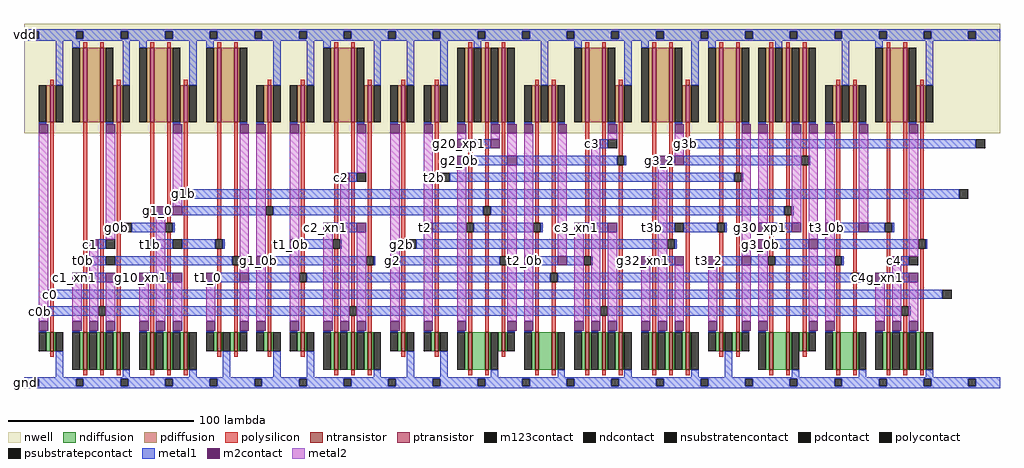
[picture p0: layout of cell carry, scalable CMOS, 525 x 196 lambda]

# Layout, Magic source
magic
tech scmos
<< nwell >>
rect 0 137 525 196
<< ntransistor >>
rect 14 20 16 30
rect 32 10 34 30
rect 41 10 43 30
rect 50 10 52 30
rect 68 10 70 30
rect 77 10 79 30
rect 86 10 88 30
rect 104 20 106 30
rect 113 20 115 30
rect 131 20 133 30
rect 149 20 151 30
rect 167 10 169 30
rect 176 10 178 30
rect 185 10 187 30
rect 203 20 205 30
rect 221 20 223 30
rect 239 10 241 30
rect 248 10 250 30
rect 257 20 259 30
rect 275 10 277 30
rect 284 10 286 30
rect 302 10 304 30
rect 311 10 313 30
rect 320 10 322 30
rect 338 10 340 30
rect 347 10 349 30
rect 356 10 358 30
rect 374 20 376 30
rect 383 20 385 30
rect 401 10 403 30
rect 410 10 412 30
rect 419 20 421 30
rect 437 10 439 30
rect 446 10 448 30
rect 464 10 466 30
rect 473 10 475 30
rect 482 10 484 30
<< ptransistor >>
rect 14 143 16 163
rect 32 143 34 183
rect 41 143 43 183
rect 50 143 52 163
rect 68 143 70 183
rect 77 143 79 183
rect 86 143 88 163
rect 104 143 106 183
rect 113 143 115 183
rect 131 143 133 163
rect 149 143 151 163
rect 167 143 169 183
rect 176 143 178 183
rect 185 143 187 163
rect 203 143 205 163
rect 221 143 223 163
rect 239 143 241 183
rect 248 143 250 183
rect 257 143 259 183
rect 275 143 277 163
rect 284 143 286 163
rect 302 143 304 183
rect 311 143 313 183
rect 320 143 322 163
rect 338 143 340 183
rect 347 143 349 183
rect 356 143 358 163
rect 374 143 376 183
rect 383 143 385 183
rect 401 143 403 183
rect 410 143 412 183
rect 419 143 421 183
rect 437 143 439 163
rect 446 143 448 163
rect 464 143 466 183
rect 473 143 475 183
rect 482 143 484 163
<< ndiffusion >>
rect 12 20 14 30
rect 16 20 17 30
rect 30 10 32 30
rect 34 10 35 30
rect 39 10 41 30
rect 43 10 44 30
rect 48 10 50 30
rect 52 10 53 30
rect 66 10 68 30
rect 70 10 71 30
rect 75 10 77 30
rect 79 10 80 30
rect 84 10 86 30
rect 88 10 89 30
rect 102 20 104 30
rect 106 20 107 30
rect 111 20 113 30
rect 115 20 116 30
rect 129 20 131 30
rect 133 20 134 30
rect 147 20 149 30
rect 151 20 152 30
rect 165 10 167 30
rect 169 10 170 30
rect 174 10 176 30
rect 178 10 179 30
rect 183 10 185 30
rect 187 10 188 30
rect 201 20 203 30
rect 205 20 206 30
rect 219 20 221 30
rect 223 20 224 30
rect 237 10 239 30
rect 241 10 248 30
rect 250 10 251 30
rect 255 20 257 30
rect 259 20 260 30
rect 273 10 275 30
rect 277 10 284 30
rect 286 10 287 30
rect 300 10 302 30
rect 304 10 305 30
rect 309 10 311 30
rect 313 10 314 30
rect 318 10 320 30
rect 322 10 323 30
rect 336 10 338 30
rect 340 10 341 30
rect 345 10 347 30
rect 349 10 350 30
rect 354 10 356 30
rect 358 10 359 30
rect 372 20 374 30
rect 376 20 377 30
rect 381 20 383 30
rect 385 20 386 30
rect 399 10 401 30
rect 403 10 410 30
rect 412 10 413 30
rect 417 20 419 30
rect 421 20 422 30
rect 435 10 437 30
rect 439 10 446 30
rect 448 10 449 30
rect 462 10 464 30
rect 466 10 467 30
rect 471 10 473 30
rect 475 10 476 30
rect 480 10 482 30
rect 484 10 485 30
<< pdiffusion >>
rect 12 143 14 163
rect 16 143 17 163
rect 30 143 32 183
rect 34 143 41 183
rect 43 143 44 183
rect 48 143 50 163
rect 52 143 53 163
rect 66 143 68 183
rect 70 143 77 183
rect 79 143 80 183
rect 84 143 86 163
rect 88 143 89 163
rect 102 143 104 183
rect 106 143 113 183
rect 115 143 116 183
rect 129 143 131 163
rect 133 143 134 163
rect 147 143 149 163
rect 151 143 152 163
rect 165 143 167 183
rect 169 143 176 183
rect 178 143 179 183
rect 183 143 185 163
rect 187 143 188 163
rect 201 143 203 163
rect 205 143 206 163
rect 219 143 221 163
rect 223 143 224 163
rect 237 143 239 183
rect 241 143 242 183
rect 246 143 248 183
rect 250 143 251 183
rect 255 143 257 183
rect 259 143 260 183
rect 273 143 275 163
rect 277 143 278 163
rect 282 143 284 163
rect 286 143 287 163
rect 300 143 302 183
rect 304 143 311 183
rect 313 143 314 183
rect 318 143 320 163
rect 322 143 323 163
rect 336 143 338 183
rect 340 143 347 183
rect 349 143 350 183
rect 354 143 356 163
rect 358 143 359 163
rect 372 143 374 183
rect 376 143 383 183
rect 385 143 386 183
rect 399 143 401 183
rect 403 143 404 183
rect 408 143 410 183
rect 412 143 413 183
rect 417 143 419 183
rect 421 143 422 183
rect 435 143 437 163
rect 439 143 440 163
rect 444 143 446 163
rect 448 143 449 163
rect 462 143 464 183
rect 466 143 473 183
rect 475 143 476 183
rect 480 143 482 163
rect 484 143 485 163
<< ndcontact >>
rect 8 20 12 30
rect 17 20 21 30
rect 26 10 30 30
rect 35 10 39 30
rect 44 10 48 30
rect 53 10 57 30
rect 62 10 66 30
rect 71 10 75 30
rect 80 10 84 30
rect 89 10 93 30
rect 98 20 102 30
rect 107 20 111 30
rect 116 20 120 30
rect 125 20 129 30
rect 134 20 138 30
rect 143 20 147 30
rect 152 20 156 30
rect 161 10 165 30
rect 170 10 174 30
rect 179 10 183 30
rect 188 10 192 30
rect 197 20 201 30
rect 206 20 210 30
rect 215 20 219 30
rect 224 20 228 30
rect 233 10 237 30
rect 251 10 255 30
rect 260 20 264 30
rect 269 10 273 30
rect 287 10 291 30
rect 296 10 300 30
rect 305 10 309 30
rect 314 10 318 30
rect 323 10 327 30
rect 332 10 336 30
rect 341 10 345 30
rect 350 10 354 30
rect 359 10 363 30
rect 368 20 372 30
rect 377 20 381 30
rect 386 20 390 30
rect 395 10 399 30
rect 413 10 417 30
rect 422 20 426 30
rect 431 10 435 30
rect 449 10 453 30
rect 458 10 462 30
rect 467 10 471 30
rect 476 10 480 30
rect 485 10 489 30
<< pdcontact >>
rect 8 143 12 163
rect 17 143 21 163
rect 26 143 30 183
rect 44 143 48 183
rect 53 143 57 163
rect 62 143 66 183
rect 80 143 84 183
rect 89 143 93 163
rect 98 143 102 183
rect 116 143 120 183
rect 125 143 129 163
rect 134 143 138 163
rect 143 143 147 163
rect 152 143 156 163
rect 161 143 165 183
rect 179 143 183 183
rect 188 143 192 163
rect 197 143 201 163
rect 206 143 210 163
rect 215 143 219 163
rect 224 143 228 163
rect 233 143 237 183
rect 242 143 246 183
rect 251 143 255 183
rect 260 143 264 183
rect 269 143 273 163
rect 278 143 282 163
rect 287 143 291 163
rect 296 143 300 183
rect 314 143 318 183
rect 323 143 327 163
rect 332 143 336 183
rect 350 143 354 183
rect 359 143 363 163
rect 368 143 372 183
rect 386 143 390 183
rect 395 143 399 183
rect 404 143 408 183
rect 413 143 417 183
rect 422 143 426 183
rect 431 143 435 163
rect 440 143 444 163
rect 449 143 453 163
rect 458 143 462 183
rect 476 143 480 183
rect 485 143 489 163
<< psubstratepcontact >>
rect 4 1 8 5
rect 28 1 32 5
rect 52 1 56 5
rect 76 1 80 5
rect 100 1 104 5
rect 124 1 128 5
rect 148 1 152 5
rect 172 1 176 5
rect 196 1 200 5
rect 220 1 224 5
rect 244 1 248 5
rect 268 1 272 5
rect 292 1 296 5
rect 316 1 320 5
rect 340 1 344 5
rect 364 1 368 5
rect 388 1 392 5
rect 412 1 416 5
rect 436 1 440 5
rect 460 1 464 5
rect 484 1 488 5
rect 508 1 512 5
<< nsubstratencontact >>
rect 4 188 8 192
rect 28 188 32 192
rect 52 188 56 192
rect 76 188 80 192
rect 100 188 104 192
rect 124 188 128 192
rect 148 188 152 192
rect 172 188 176 192
rect 196 188 200 192
rect 220 188 224 192
rect 244 188 248 192
rect 268 188 272 192
rect 292 188 296 192
rect 316 188 320 192
rect 340 188 344 192
rect 364 188 368 192
rect 388 188 392 192
rect 412 188 416 192
rect 436 188 440 192
rect 460 188 464 192
rect 484 188 488 192
rect 508 188 512 192
<< polysilicon >>
rect 32 183 34 186
rect 41 183 43 186
rect 68 183 70 186
rect 77 183 79 186
rect 104 183 106 186
rect 113 183 115 186
rect 167 183 169 186
rect 176 183 178 186
rect 239 183 241 186
rect 248 183 250 186
rect 257 183 259 186
rect 302 183 304 186
rect 311 183 313 186
rect 338 183 340 186
rect 347 183 349 186
rect 374 183 376 186
rect 383 183 385 186
rect 401 183 403 186
rect 410 183 412 186
rect 419 183 421 186
rect 464 183 466 186
rect 473 183 475 186
rect 14 163 16 166
rect 50 163 52 166
rect 86 163 88 166
rect 131 163 133 166
rect 149 163 151 166
rect 185 163 187 166
rect 203 163 205 166
rect 221 163 223 166
rect 275 163 277 166
rect 284 163 286 166
rect 320 163 322 166
rect 356 163 358 166
rect 437 163 439 166
rect 446 163 448 166
rect 482 163 484 166
rect 14 53 16 143
rect 32 71 34 143
rect 14 30 16 48
rect 32 30 34 66
rect 41 44 43 143
rect 50 89 52 143
rect 41 30 43 39
rect 50 30 52 84
rect 68 80 70 143
rect 77 89 79 143
rect 86 107 88 143
rect 68 30 70 75
rect 77 30 79 84
rect 86 30 88 102
rect 104 80 106 143
rect 104 30 106 75
rect 113 71 115 143
rect 131 98 133 143
rect 113 30 115 66
rect 131 30 133 93
rect 149 62 151 143
rect 167 80 169 143
rect 149 30 151 57
rect 167 30 169 75
rect 176 44 178 143
rect 185 71 187 143
rect 203 80 205 143
rect 221 116 223 143
rect 176 30 178 39
rect 185 30 187 66
rect 203 30 205 75
rect 221 30 223 111
rect 239 89 241 143
rect 248 98 250 143
rect 239 30 241 84
rect 248 30 250 93
rect 257 71 259 143
rect 275 89 277 143
rect 257 30 259 66
rect 275 30 277 84
rect 284 62 286 143
rect 302 71 304 143
rect 284 30 286 57
rect 302 30 304 66
rect 311 44 313 143
rect 320 125 322 143
rect 311 30 313 39
rect 320 30 322 120
rect 338 89 340 143
rect 338 30 340 84
rect 347 80 349 143
rect 356 134 358 143
rect 347 30 349 75
rect 356 30 358 129
rect 374 89 376 143
rect 383 116 385 143
rect 374 30 376 84
rect 383 30 385 111
rect 401 71 403 143
rect 410 98 412 143
rect 419 125 421 143
rect 401 30 403 66
rect 410 30 412 93
rect 419 30 421 120
rect 437 71 439 143
rect 437 30 439 66
rect 446 62 448 143
rect 464 89 466 143
rect 446 30 448 57
rect 464 30 466 84
rect 473 44 475 143
rect 482 80 484 143
rect 473 30 475 39
rect 482 30 484 75
rect 14 17 16 20
rect 104 17 106 20
rect 113 17 115 20
rect 131 17 133 20
rect 149 17 151 20
rect 203 17 205 20
rect 221 17 223 20
rect 257 17 259 20
rect 374 17 376 20
rect 383 17 385 20
rect 419 17 421 20
rect 32 7 34 10
rect 41 7 43 10
rect 50 7 52 10
rect 68 7 70 10
rect 77 7 79 10
rect 86 7 88 10
rect 167 7 169 10
rect 176 7 178 10
rect 185 7 187 10
rect 239 7 241 10
rect 248 7 250 10
rect 275 7 277 10
rect 284 7 286 10
rect 302 7 304 10
rect 311 7 313 10
rect 320 7 322 10
rect 338 7 340 10
rect 347 7 349 10
rect 356 7 358 10
rect 401 7 403 10
rect 410 7 412 10
rect 437 7 439 10
rect 446 7 448 10
rect 464 7 466 10
rect 473 7 475 10
rect 482 7 484 10
<< polycontact >>
rect 31 66 35 71
rect 13 48 17 53
rect 49 84 53 89
rect 40 39 44 44
rect 85 102 89 107
rect 76 84 80 89
rect 67 75 71 80
rect 103 75 107 80
rect 130 93 134 98
rect 112 66 116 71
rect 166 75 170 80
rect 148 57 152 62
rect 220 111 224 116
rect 202 75 206 80
rect 184 66 188 71
rect 175 39 179 44
rect 247 93 251 98
rect 238 84 242 89
rect 274 84 278 89
rect 256 66 260 71
rect 301 66 305 71
rect 283 57 287 62
rect 319 120 323 125
rect 310 39 314 44
rect 337 84 341 89
rect 355 129 359 134
rect 346 75 350 80
rect 382 111 386 116
rect 373 84 377 89
rect 418 120 422 125
rect 409 93 413 98
rect 400 66 404 71
rect 436 66 440 71
rect 463 84 467 89
rect 445 57 449 62
rect 481 75 485 80
rect 472 39 476 44
<< metal1 >>
rect 0 192 525 193
rect 0 188 4 192
rect 8 188 28 192
rect 32 188 52 192
rect 56 188 76 192
rect 80 188 100 192
rect 104 188 124 192
rect 128 188 148 192
rect 152 188 172 192
rect 176 188 196 192
rect 200 188 220 192
rect 224 188 244 192
rect 248 188 268 192
rect 272 188 292 192
rect 296 188 316 192
rect 320 188 340 192
rect 344 188 364 192
rect 368 188 388 192
rect 392 188 412 192
rect 416 188 436 192
rect 440 188 460 192
rect 464 188 484 192
rect 488 188 508 192
rect 512 188 525 192
rect 0 187 525 188
rect 17 163 21 187
rect 26 183 30 187
rect 53 163 57 187
rect 62 183 66 187
rect 89 163 93 187
rect 98 183 102 187
rect 134 163 138 187
rect 152 163 156 187
rect 8 142 12 143
rect 44 142 48 143
rect 80 142 84 143
rect 116 142 120 143
rect 161 183 165 187
rect 188 163 192 187
rect 206 163 210 187
rect 224 163 228 187
rect 242 183 246 187
rect 125 142 129 143
rect 143 142 147 143
rect 179 142 183 143
rect 197 142 201 143
rect 215 142 219 143
rect 233 142 237 143
rect 251 142 255 143
rect 278 163 282 187
rect 296 183 300 187
rect 260 142 264 143
rect 323 163 327 187
rect 332 183 336 187
rect 359 163 363 187
rect 368 183 372 187
rect 404 183 408 187
rect 269 142 273 143
rect 287 142 291 143
rect 314 142 318 143
rect 350 142 354 143
rect 386 142 390 143
rect 395 142 399 143
rect 413 142 417 143
rect 440 163 444 187
rect 458 183 462 187
rect 422 142 426 143
rect 485 163 489 187
rect 431 142 435 143
rect 449 142 453 143
rect 476 142 480 143
rect 238 129 251 134
rect 310 129 314 134
rect 359 129 512 134
rect 238 120 260 125
rect 265 120 319 125
rect 323 120 324 125
rect 346 120 350 125
rect 355 120 418 125
rect 422 120 423 125
rect 175 111 179 116
rect 229 111 382 116
rect 386 111 387 116
rect 89 102 503 107
rect 76 93 80 98
rect 85 93 130 98
rect 134 93 247 98
rect 251 93 409 98
rect 413 93 414 98
rect 58 84 76 89
rect 80 84 81 89
rect 166 84 179 89
rect 220 84 238 89
rect 242 84 274 89
rect 278 84 279 89
rect 301 84 314 89
rect 341 84 350 89
rect 355 84 373 89
rect 377 84 378 89
rect 400 84 413 89
rect 436 84 449 89
rect 454 84 463 89
rect 467 84 468 89
rect 40 75 44 80
rect 71 75 80 80
rect 85 75 103 80
rect 107 75 108 80
rect 148 75 166 80
rect 170 75 171 80
rect 211 75 346 80
rect 350 75 351 80
rect 400 75 422 80
rect 427 75 481 80
rect 485 75 486 80
rect 35 66 44 71
rect 49 66 112 71
rect 116 66 117 71
rect 130 66 184 71
rect 188 66 189 71
rect 202 66 256 71
rect 260 66 261 71
rect 274 66 287 71
rect 292 66 301 71
rect 305 66 306 71
rect 337 66 350 71
rect 373 66 386 71
rect 391 66 400 71
rect 404 66 436 71
rect 440 66 441 71
rect 472 66 476 71
rect 31 57 44 62
rect 67 57 80 62
rect 103 57 116 62
rect 121 57 148 62
rect 152 57 283 62
rect 287 57 445 62
rect 449 57 450 62
rect 463 57 476 62
rect 17 48 494 53
rect 13 39 40 44
rect 44 39 175 44
rect 179 39 310 44
rect 314 39 472 44
rect 476 39 477 44
rect 8 30 12 31
rect 26 30 30 31
rect 17 6 21 20
rect 35 30 39 31
rect 44 30 48 31
rect 62 30 66 31
rect 71 30 75 31
rect 80 30 84 31
rect 98 30 102 31
rect 116 30 120 31
rect 125 30 129 31
rect 143 30 147 31
rect 161 30 165 31
rect 53 6 57 10
rect 89 6 93 10
rect 107 6 111 20
rect 134 6 138 20
rect 152 6 156 20
rect 170 30 174 31
rect 179 30 183 31
rect 197 30 201 31
rect 215 30 219 31
rect 233 30 237 31
rect 260 30 264 31
rect 188 6 192 10
rect 206 6 210 20
rect 224 6 228 20
rect 269 30 273 31
rect 296 30 300 31
rect 305 30 309 31
rect 314 30 318 31
rect 332 30 336 31
rect 341 30 345 31
rect 350 30 354 31
rect 368 30 372 31
rect 386 30 390 31
rect 395 30 399 31
rect 422 30 426 31
rect 251 6 255 10
rect 287 6 291 10
rect 323 6 327 10
rect 359 6 363 10
rect 377 6 381 20
rect 431 30 435 31
rect 458 30 462 31
rect 467 30 471 31
rect 476 30 480 31
rect 413 6 417 10
rect 449 6 453 10
rect 485 6 489 10
rect 0 5 525 6
rect 0 1 4 5
rect 8 1 28 5
rect 32 1 52 5
rect 56 1 76 5
rect 80 1 100 5
rect 104 1 124 5
rect 128 1 148 5
rect 152 1 172 5
rect 176 1 196 5
rect 200 1 220 5
rect 224 1 244 5
rect 248 1 268 5
rect 272 1 292 5
rect 296 1 316 5
rect 320 1 340 5
rect 344 1 364 5
rect 368 1 388 5
rect 392 1 412 5
rect 416 1 436 5
rect 440 1 460 5
rect 464 1 484 5
rect 488 1 508 5
rect 512 1 525 5
rect 0 0 525 1
<< m2contact >>
rect 8 137 13 142
rect 44 137 49 142
rect 80 137 85 142
rect 116 137 121 142
rect 125 137 130 142
rect 143 137 148 142
rect 179 137 184 142
rect 197 137 202 142
rect 215 137 220 142
rect 233 137 238 142
rect 251 137 256 142
rect 260 137 265 142
rect 269 137 274 142
rect 287 137 292 142
rect 314 137 319 142
rect 350 137 355 142
rect 386 137 391 142
rect 395 137 400 142
rect 413 137 418 142
rect 422 137 427 142
rect 431 137 436 142
rect 449 137 454 142
rect 476 137 481 142
rect 233 129 238 134
rect 251 129 256 134
rect 305 129 310 134
rect 233 120 238 125
rect 260 120 265 125
rect 341 120 346 125
rect 350 120 355 125
rect 170 111 175 116
rect 71 93 76 98
rect 80 93 85 98
rect 161 84 166 89
rect 179 84 184 89
rect 215 84 220 89
rect 296 84 301 89
rect 314 84 319 89
rect 395 84 400 89
rect 413 84 418 89
rect 431 84 436 89
rect 449 84 454 89
rect 35 75 40 80
rect 143 75 148 80
rect 395 75 400 80
rect 422 75 427 80
rect 125 66 130 71
rect 197 66 202 71
rect 269 66 274 71
rect 287 66 292 71
rect 332 66 337 71
rect 350 66 355 71
rect 368 66 373 71
rect 386 66 391 71
rect 467 66 472 71
rect 26 57 31 62
rect 44 57 49 62
rect 62 57 67 62
rect 80 57 85 62
rect 98 57 103 62
rect 116 57 121 62
rect 458 57 463 62
rect 476 57 481 62
rect 8 39 13 44
rect 8 31 13 36
rect 26 31 31 36
rect 35 31 40 36
rect 44 31 49 36
rect 62 31 67 36
rect 71 31 76 36
rect 80 31 85 36
rect 98 31 103 36
rect 116 31 121 36
rect 125 31 130 36
rect 143 31 148 36
rect 161 31 166 36
rect 170 31 175 36
rect 179 31 184 36
rect 197 31 202 36
rect 215 31 220 36
rect 233 31 238 36
rect 260 31 265 36
rect 269 31 274 36
rect 296 31 301 36
rect 305 31 310 36
rect 314 31 319 36
rect 332 31 337 36
rect 341 31 346 36
rect 350 31 355 36
rect 368 31 373 36
rect 386 31 391 36
rect 395 31 400 36
rect 422 31 427 36
rect 431 31 436 36
rect 458 31 463 36
rect 467 31 472 36
rect 476 31 481 36
<< metal2 >>
rect 8 44 13 137
rect 44 80 49 137
rect 80 98 85 137
rect 8 36 13 39
rect 26 36 31 57
rect 35 36 40 75
rect 44 36 49 57
rect 62 36 67 57
rect 71 36 76 93
rect 116 62 121 137
rect 80 36 85 57
rect 98 36 103 57
rect 116 36 121 57
rect 125 71 130 137
rect 125 36 130 66
rect 143 80 148 137
rect 179 116 184 137
rect 143 36 148 75
rect 161 36 166 84
rect 170 36 175 111
rect 179 36 184 84
rect 197 71 202 137
rect 215 89 220 137
rect 233 134 238 137
rect 251 134 256 137
rect 260 125 265 137
rect 197 36 202 66
rect 215 36 220 84
rect 233 36 238 120
rect 260 36 265 120
rect 269 71 274 137
rect 287 71 292 137
rect 314 134 319 137
rect 269 36 274 66
rect 296 36 301 84
rect 305 36 310 129
rect 350 125 355 137
rect 314 36 319 84
rect 332 36 337 66
rect 341 36 346 120
rect 386 71 391 137
rect 395 89 400 137
rect 413 89 418 137
rect 422 80 427 137
rect 350 36 355 66
rect 368 36 373 66
rect 386 36 391 66
rect 395 36 400 75
rect 422 36 427 75
rect 431 89 436 137
rect 449 89 454 137
rect 431 36 436 84
rect 476 71 481 137
rect 458 36 463 57
rect 467 36 472 66
rect 476 36 481 57
<< m123contact >>
rect 53 84 58 89
rect 44 75 49 80
rect 44 66 49 71
rect 80 75 85 80
rect 179 111 184 116
rect 224 111 229 116
rect 206 75 211 80
rect 314 129 319 134
rect 350 84 355 89
rect 512 129 517 134
rect 503 102 508 107
rect 476 66 481 71
rect 494 48 499 53
<< labels >>
rlabel metal1 13 48 15 53 0 c0
port 1 nsew
rlabel m2contact 35 75 37 80 0 c1
port 2 nsew
rlabel m2contact 170 111 172 116 0 c2
port 3 nsew
rlabel m2contact 305 129 307 134 0 c3
port 4 nsew
rlabel m2contact 467 66 469 71 0 c4
port 5 nsew
rlabel metal1 49 84 51 89 0 g0b
port 6 nsew
rlabel metal1 85 102 87 107 0 g1b
port 7 nsew
rlabel metal1 202 75 204 80 0 g2b
port 8 nsew
rlabel metal1 355 129 357 134 0 g3b
port 9 nsew
rlabel metal1 31 66 33 71 0 t0b
port 10 nsew
rlabel metal1 67 75 69 80 0 t1b
port 11 nsew
rlabel metal1 220 111 222 116 0 t2b
port 12 nsew
rlabel metal1 337 84 339 89 0 t3b
port 13 nsew
rlabel m2contact 8 39 10 44 0 c0b
rlabel m2contact 26 57 28 62 0 c1_xn1
rlabel m2contact 161 84 163 89 0 c2_xn1
rlabel m2contact 296 84 298 89 0 c3_xn1
rlabel m2contact 458 57 460 62 0 c4g_xn1
rlabel m2contact 62 57 64 62 0 g10_xn1
rlabel m2contact 71 93 73 98 0 g1_0
rlabel m2contact 125 66 127 71 0 g1_0b
rlabel m2contact 197 66 199 71 0 g2
rlabel m2contact 233 129 235 134 0 g20_xp1
rlabel m2contact 233 120 235 125 0 g2_0b
rlabel m2contact 395 84 397 89 0 g30_xp1
rlabel m2contact 332 66 334 71 0 g32_xn1
rlabel m2contact 395 75 397 80 0 g3_0b
rlabel m2contact 341 120 343 125 0 g3_2
rlabel m2contact 98 57 100 62 0 t1_0
rlabel m2contact 143 75 145 80 0 t1_0b
rlabel m2contact 215 84 217 89 0 t2
rlabel m2contact 269 66 271 71 0 t2_0b
rlabel m2contact 431 84 433 89 0 t3_0b
rlabel m2contact 368 66 370 71 0 t3_2
rlabel metal1 0 187 2 193 0 vdd
port 14 nsew
rlabel metal1 0 0 2 6 0 gnd
port 15 nsew
<< end >>
